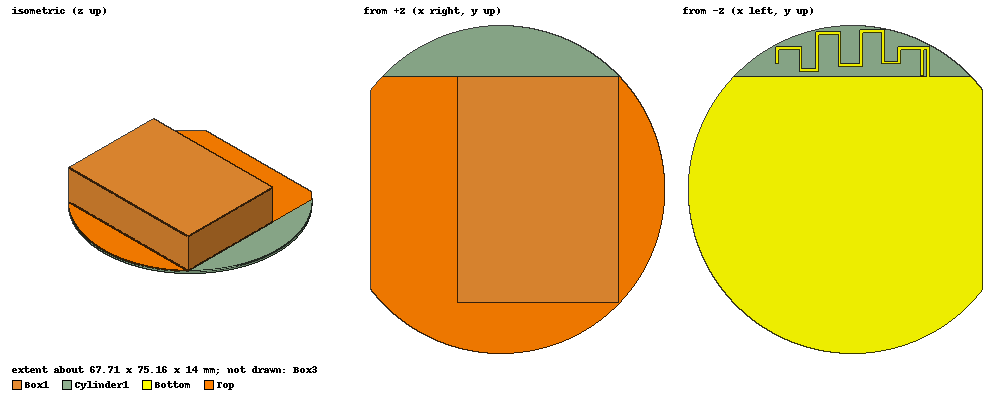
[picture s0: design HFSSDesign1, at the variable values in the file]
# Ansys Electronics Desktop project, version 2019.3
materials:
  vacuum: permittivity=1
  brass: conductivity=15000000
  FR4_epoxy: permittivity=4.4 dielectric_loss_tangent=0.02

design HFSSDesign1 (HFSS, DrivenModal, model units mm)
options: Calculate_Lossy_Dielectrics
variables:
  PortX = XG+DistG
  H = 2.7644579mm  # optimise 1mm..5mm
  L1 = 5.3040247mm  # optimise 1mm..6mm
  L2 = 3.6280054mm  # optimise 1mm..6mm
  L3 = 5.0619141mm  # optimise 1mm..6mm
  L4 = 4.839153mm  # optimise 1mm..6mm
  L5 = 5.245838mm  # optimise 1mm..6mm
  L6 = 3.7372911mm  # optimise 1mm..7mm
  LTail = 3.8980294mm  # optimise 0.5mm..6mm
  DistG = 1.0509135mm  # optimise 1mm..4mm
  BatL = 52mm
  BatW = 12.1mm
  BatH = 13mm
  Radius = 37.58mm
  W = 0.6mm
  PortW = 0.2mm
  X0 = PortX-W/2
  Y0 = 6.7mm
  X1 = X0+L1
  Y1 = sqrt(Radius^2 - X2^2)+YCntr-0.3mm
  XEnd = -sqrt(Radius^2-YCntr^2)+3*W
  X2 = X1+L2
  Y2 = Y1
  X3 = X2+L3
  Y3 = Y1
  X4 = X3+L4
  Y4 = sqrt(Radius^2 - X5^2)+YCntr-0.6mm
  X5 = X4+L5
  Y5 = Y4
  XG = -17mm
  X6 = X5+L6
  Y6 = Y0
  X7 = 17mm
  Y7 = Y0
  XCntr = 0
  YCntr = -26mm
  XEdge = -29.8mm
  H3 = 2.2712702mm  # optimise 1mm..6mm
  H5 = 1.0746067mm  # optimise 1mm..5mm
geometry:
  Box1 [brass] = box(corner=(-10mm, 0mm, 1mm), size=(37mm, -52mm, BatH))
  Bottom = circle(normal=Z, centre=(XCntr, YCntr, 0), radius=Radius)
  Rectangle1 = rectangle(corner=(BatL/2+3mm, 0mm, 0mm), x_size=-BatL-6mm, y_size=38mm)
  Port = rectangle(corner=(PortX-W/2, 0mm, 0mm), x_size=W, y_size=PortW)
  Box3 [vacuum] = box(corner=(-100mm, -100mm, -100mm), size=(200mm, 200mm, 200mm))
  Feed = polyline(z=0mm, xy: (X0+W, PortW) (X0, PortW) (X0, Y0) (X0+W, Y0) (X0+W, PortW), closed, covered)
  Ver1 = rectangle(corner=(X1, Y0, 0mm), x_size=W, y_size=H-Y0)
  Hor1 = rectangle(corner=(X1, H, 0mm), x_size=X2-X1, y_size=W)
  Ver2 = rectangle(corner=(X2, Y2, 0mm), x_size=W, y_size=if((H-Y2)>-W,-W,(H-Y2)))
  Ver3 = rectangle(corner=(X3, Y3, 0mm), x_size=W, y_size=if((H3-Y3)>-W,-W,(H3-Y3)))
  Hor3 = rectangle(corner=(X3, H3, 0mm), x_size=X4-X3, y_size=W)
  Ver4 = rectangle(corner=(X4, Y4, 0mm), x_size=W, y_size=if((H3-Y4)>-W,-W,(H3-Y4)))
  Ver5 = rectangle(corner=(X5, Y5, 0mm), x_size=W, y_size=if((H5-Y5)>-W,-W,(H5-Y5)))
  Top = circle(normal=Z, centre=(XCntr, YCntr, 1mm), radius=Radius)
  Rectangle9 = rectangle(corner=(BatL/2+3mm, 0mm, 1mm), x_size=-BatL-6mm, y_size=38mm)
  Hor5 = rectangle(corner=(X5, H5, 0mm), x_size=X6-X5, y_size=W)
  Ver6 = rectangle(corner=(X6, Y6, 0mm), x_size=W, y_size=if((H5-Y6)>-W,-W,(H5-Y6)))
  VerTail = rectangle(corner=(X7, Y7, 0mm), x_size=W, y_size=if((Y7-LTail)<0.22mm,(0.22mm-Y7),-LTail))
  Hor0 = rectangle(corner=(X0, Y0, 0mm), x_size=X1-X0+W, y_size=-W)
  Hor2 = rectangle(corner=(X2, Y1, 0mm), x_size=X3-X2+W, y_size=-W)
  Hor4 = rectangle(corner=(X4, Y4, 0mm), x_size=X5-X4+W, y_size=-W)
  Hor6 = rectangle(corner=(X6, Y6, 0mm), x_size=X7-X6+W, y_size=-W)
  HorG = rectangle(corner=(X0, Y0, 0mm), x_size=XG-X0, y_size=-W)
  VerG = rectangle(corner=(XG, 0mm, 0mm), x_size=-W, y_size=Y0)
  Cylinder1 [FR4_epoxy] = cylinder(axis=Z, base_centre=(XCntr, YCntr, 0mm), radius=Radius, height=1mm)
  Box4 = box(corner=(XEdge, 15mm, 0mm), size=(-20mm, -80mm, 1mm))
  Cylinder1.subtract(Box4)
  Rectangle25 = rectangle(corner=(Xedge, 0mm, 0mm), x_size=-10mm, y_size=-55mm)
  Rectangle26 = rectangle(corner=(XEdge, 5mm, 1mm), x_size=-20mm, y_size=-80mm)
  Bottom.subtract(Rectangle1, Rectangle25)
  Top.subtract(Rectangle26, Rectangle9)
  Feed.unite(Hor0..Hor6, HorG, Ver1..Ver6, VerG, VerTail)
  Bottom.unite(Feed)
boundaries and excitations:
  PerfE1: Perfect E Objects=Bottom
  Rad1: Radiation Objects=Box3
  PerfE2: Perfect E Objects=Top
  1: Lumped Port Objects=Port Modes{Mode1{IntLine{middle of Port.edge(y at corner) -> middle of Port.edge(y opposite corner)} CharImp=Zpi RenormImp=50ohm}} Impedance=50ohm
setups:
  Setup1: HfssDriven Frequency=868MHz MaxDeltaS=0.02 MaximumPasses=36 MinimumPasses=1 MinimumConvergedPasses=1 PercentRefinement=30 BasisOrder=1 PortAccuracy=2
    sweep Sweep2: 850MHz to 1100MHz step 1MHz; Type=Interpolating InterpTolerance=0.5 InterpMaxSolns=250 InterpUsePortImped=false
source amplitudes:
  1:1: 1W 0deg
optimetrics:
  OptimizationSetup min S11: Optimization Optimizer="Quasi Newton" AnalysisStopOptions{StopForNumIteration MaxNumIteration=1000 MinNumIteration=10} CostFuncNormType=L2 Acceptable_Cost=0 Noise=0.0001 UpdateDesignWhenDone
    goal dB(S(1,1)) <= -20 weight 1 on Setup1 : LastAdaptive at Freq 0.868GHz
  OptimizationSetup max Gain: Optimization Optimizer="Pattern Search" AnalysisStopOptions{StopForNumIteration MaxNumIteration=1000 MinNumIteration=10} CostFuncNormType=L2 Acceptable_Cost=0 Noise=0.0001 UpdateDesignWhenDone
    goal GainTotal >= 3 weight 1 on Setup1 : LastAdaptive at Theta 0deg,10deg,20deg,30deg,40deg,50deg,60deg,70deg,80deg,90deg,100deg,110deg,120deg,130deg,140deg,150deg,160deg,170deg,180deg, Phi 0deg,10deg,20deg,30deg,40deg,50deg,60deg,70deg,80deg,90deg,100deg,110deg,120deg,130deg,140deg,150deg,160deg,170deg,180deg,190deg,200deg,210deg,220deg,230deg,240deg,250deg,260deg,270deg,280deg,290deg,3, Freq 0.868GHz
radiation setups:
  Infinite Sphere1: Infinite Sphere Theta=0deg..180deg step 10deg Phi=0deg..360deg step 10deg
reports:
  XY Plot 1: dB(S(1,1)) vs Freq on Setup1 : Sweep2; markers MX1 at x=8.6696833e+08
  3D Polar Plot 1: dB(GainTotal) vs Phi, Theta on Setup1 : LastAdaptive, Infinite Sphere1 [Freq=868MHz]
  Smith Chart 1: S(1,1) on Setup1 : Sweep2 [Freq=all L1=all L2=all L3=all L4=all L5=all L6=all LTail=all DistG=all]; markers m1 at 0.867GHz, m2 at 0.989GHz
  XY Plot 2: re(Z(1,1)), im(Z(1,1)) vs Freq on Setup1 : Sweep2 [L1=all L2=all L3=all L4=all L5=all L6=all LTail=all DistG=all]; markers MX1 at x=8.6864347e+08
